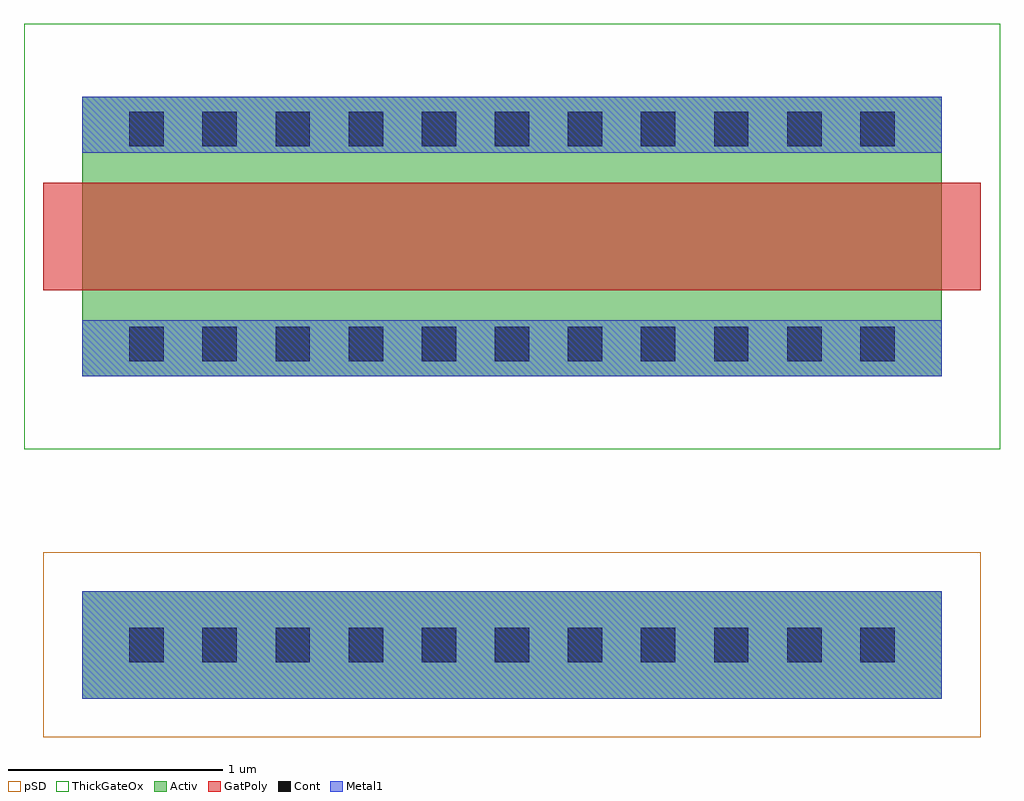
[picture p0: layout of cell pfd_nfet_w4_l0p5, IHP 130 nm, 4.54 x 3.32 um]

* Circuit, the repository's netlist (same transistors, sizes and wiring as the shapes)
* extracted by klt extract --deck sg13cmos5l

* cell pfd_nfet_w4_l0p5
* pin vsubs
.SUBCKT pfd_nfet_w4_l0p5 vsubs
* device instance $1 r0 *1 3.3,3.11 nfet
X$1 \$2 \$1 \$3 vsubs sg13_hv_nmos L=0.5U W=4U AS=1.6P AD=1.6P PS=8.8U PD=8.8U
.ENDS pfd_nfet_w4_l0p5

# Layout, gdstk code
import gdstk
lib = gdstk.Library(unit=1e-6, precision=1e-09)
def R(c, l, rs):  # rectangles x0, y0, x1, y1
    for r in rs: c.add(gdstk.rectangle(r[:2], r[2:], *l))
def A(c, l, x, y, w, h, nx, ny, dx, dy):  # array of equal rectangles
    R(c, l, [(x+i*dx, y+j*dy, x+i*dx+w, y+j*dy+h) for i in range(nx) for j in range(ny)])
Activ = (1, 0)
GatPoly = (5, 0)
Cont = (6, 0)
Metal1 = (8, 0)
pSD = (14, 0)
ThickGateOx = (44, 0)

pfd_nfet_w4_l0p5 = lib.new_cell('pfd_nfet_w4_l0p5')
R(pfd_nfet_w4_l0p5, Activ, [(0.89,0.96,4.89,1.46), (0.89,2.46,4.89,3.76)])
R(pfd_nfet_w4_l0p5, GatPoly, [(0.71,2.86,5.07,3.36)])
A(pfd_nfet_w4_l0p5, Cont, 1.11, 1.13, 0.16, 0.16, 11, 2, 0.34, 1.4)
A(pfd_nfet_w4_l0p5, Cont, 1.11, 3.53, 0.16, 0.16, 11, 1, 0.34, 0)
R(pfd_nfet_w4_l0p5, Metal1, [(0.89,0.96,4.89,1.46), (0.89,2.46,4.89,2.72), (0.89,3.5,4.89,3.76)])
R(pfd_nfet_w4_l0p5, pSD, [(0.71,0.78,5.07,1.64)])
R(pfd_nfet_w4_l0p5, ThickGateOx, [(0.62,2.12,5.16,4.1)])

lib.write_gds('pfd_nfet_w4_l0p5.gds')
